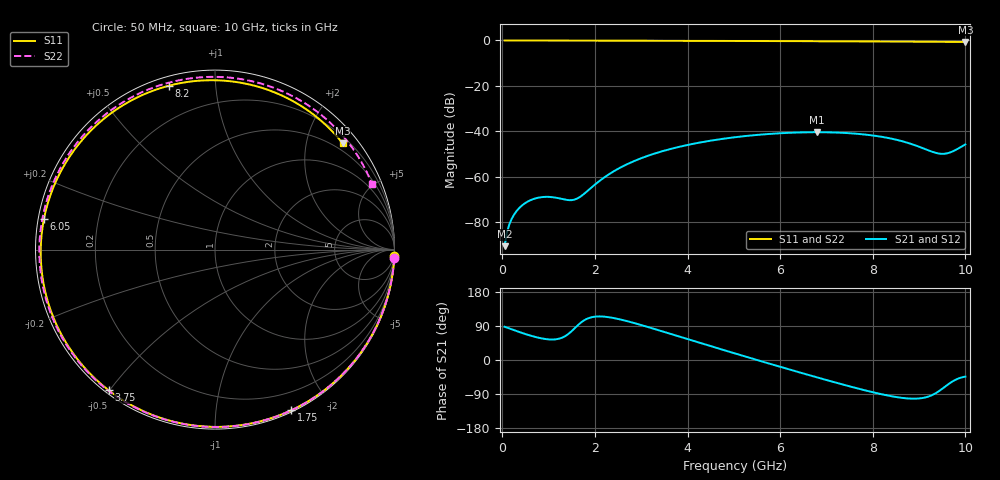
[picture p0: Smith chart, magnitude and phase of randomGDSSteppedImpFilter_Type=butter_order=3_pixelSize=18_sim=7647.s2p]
! freq	dB(S11)	phase(S11)	dB(S12)	phase(S12)
!  dB(S21)	phase(S21)	dB(S22)	phase(S22)
!S-par simulation data
#  GHz  S  DB  R 50
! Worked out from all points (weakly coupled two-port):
!   200 points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, 50 MHz to 10 GHz, reference 50 ohm
!   highest |S21| = -40.32 dB at 6.8 GHz (marker M1); lowest = -90.4 dB at 50 MHz (marker M2)
!   lowest |S11| = -0.7 dB at 10 GHz (marker M3), VSWR 25.91, Z = 16.4 + j136 ohm
!   |S11| at or under -10 dB: nowhere
!   |S22| runs from -0.5 to 0.0 dB; largest |S21 - S12| = 0
!   S11 on the Smith chart (normalised r, x): 50 MHz: 0, -59; 1.75 GHz: 0.02, -1.58; 3.75 GHz: 0.01, -0.50; 6.05 GHz: 0.02, +0.09; 8.2 GHz: 0.04, +0.76; 10 GHz: 0.33, +2.72
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0.05  -0.00 -1.9  -90.40 87.8  -90.40 87.8  -0.00 -2.7
0.15  -0.01 -5.8  -80.94 83.3  -80.94 83.3  -0.01 -8.0
0.35  -0.02 -13.4  -73.98 74.6  -73.98 74.6  -0.03 -18.4
0.65  -0.03 -24.7  -69.85 62.9  -69.85 62.9  -0.04 -33.8
1  -0.05 -37.8  -68.74 54.4  -68.74 54.4  -0.06 -51.1
1.5  -0.07 -55.8  -70.16 76.4  -70.16 76.4  -0.09 -74.2
1.75  -0.08 -64.6  -67.67 103.4  -67.67 103.4  -0.10 -84.9
2.5  -0.11 -89.5  -56.41 108.3  -56.41 108.3  -0.12 -113.9
3.4  -0.14 -117.0  -49.01 77.7  -49.01 77.7  -0.14 -143.7
3.75  -0.15 -127.1  -47.09 64.6  -47.09 64.6  -0.15 -154.2
4.4  -0.18 -145.3  -44.37 40.3  -44.37 40.3  -0.18 -172.7
5.05  -0.22 -163.0  -42.46 16.4  -42.46 16.4  -0.20 169.7
6.05  -0.28 169.9  -40.73 -19.7  -40.73 -19.7  -0.25 143.2
6.7  -0.33 151.6  -40.33 -42.5  -40.33 -42.5  -0.28 125.7
6.8  -0.34 148.8  -40.32 -46.0  -40.32 -46.0  -0.28 122.9
7.55  -0.40 126.4  -40.84 -71.2  -40.84 -71.2  -0.31 101.8
8.2  -0.46 105.6  -42.37 -90.6  -42.37 -90.6  -0.34 82.4
8.35  -0.47 100.5  -42.93 -94.4  -42.93 -94.4  -0.35 77.8
8.9  -0.53 81.4  -45.96 -102.1  -45.96 -102.1  -0.38 60.3
9.45  -0.59 61.1  -49.76 -80.4  -49.76 -80.4  -0.41 41.9
9.65  -0.62 53.4  -49.35 -62.3  -49.35 -62.3  -0.43 35.0
10  -0.67 39.9  -45.68 -43.8  -45.68 -43.8  -0.46 22.7
